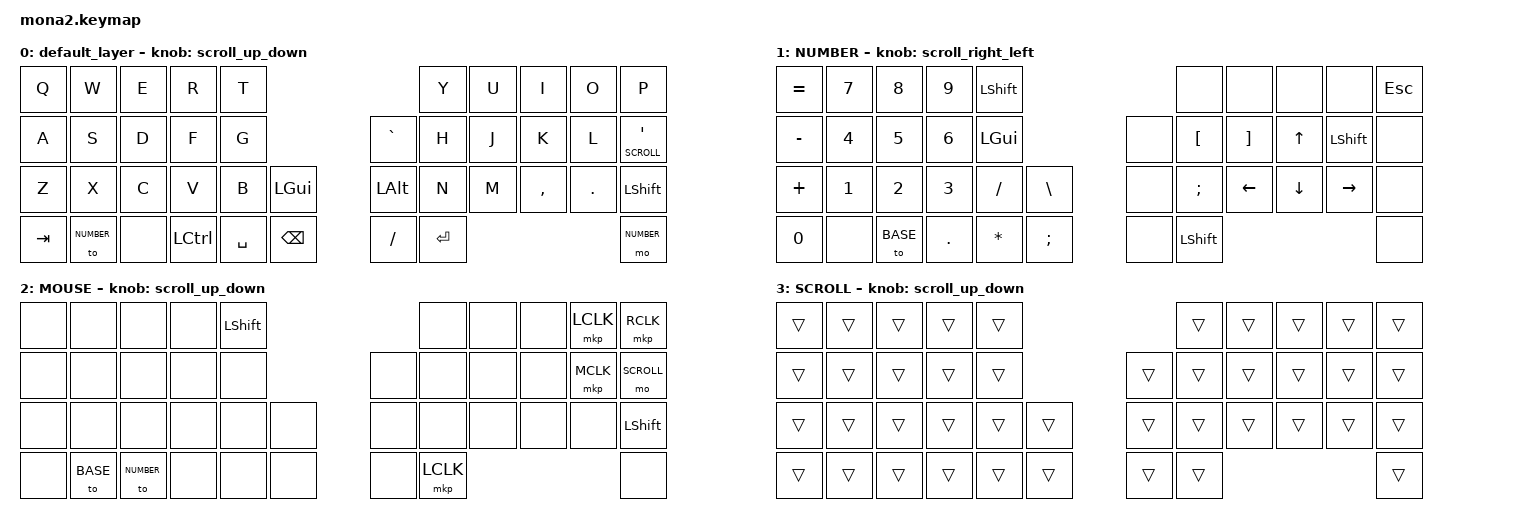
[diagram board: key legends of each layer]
#include <input/processors.dtsi>
#include <dt-bindings/zmk/input_transform.h>
#include <zephyr/dt-bindings/input/input-event-codes.h>
#include <behaviors.dtsi>
#include <dt-bindings/zmk/bt.h>
#include <dt-bindings/zmk/keys.h>
#include <dt-bindings/zmk/pointing.h>

#define ZMK_POINTING_DEFAULT_SCRL_VAL 100
#define BASE   0
#define NUMBER 1
#define MOUSE  2
#define SCROLL 3

&mt {
    flavor = "balanced";
    quick-tap-ms = <0>;
};

&lt {
    quick-tap-ms = <300>;
    flavor = "balanced";
};

/ {
    behaviors {
        scroll_up_down: mouse_wheel_up_down {
            compatible = "zmk,behavior-sensor-rotate";
            #sensor-binding-cells = <0>;
            bindings = <&msc SCRL_DOWN>, <&msc SCRL_UP>;
            tap-ms = <20>;
        };

        scroll_right_left: mouse_wheel_right_left {
            compatible = "zmk,behavior-sensor-rotate";
            #sensor-binding-cells = <0>;
            bindings = <&msc SCRL_LEFT>, <&msc SCRL_RIGHT>;
            tap-ms = <20>;
        };
    };

    keymap {
        compatible = "zmk,keymap";

        default_layer {
            bindings = <
&kp Q    &kp W  &kp E  &kp R      &kp T                                         &kp Y      &kp U  &kp I  &kp O       &kp P
&kp A    &kp S  &kp D  &kp F      &kp G                          &kp GRAVE      &kp H      &kp J  &kp K  &kp L       &lt SCROLL SQT
&kp Z    &kp X  &kp C  &kp V      &kp B       &kp LGUI           &kp LALT       &kp N      &kp M  &kp COMMA &kp DOT  &kp LSHFT
&kp TAB  &to NUMBER  &none  &kp LCTRL  &kp SPACE  &kp BSPC       &kp SLASH      &kp RET                              &mo NUMBER
            >;

            sensor-bindings = <&scroll_up_down>;
        };

            NUMBER {
                bindings = <
&kp EQUAL    &kp N7  &kp N8  &kp N9   &kp LSHFT                                    &none           &none       &none       &none        &kp ESC
&kp MINUS    &kp N4  &kp N5  &kp N6   &kp LGUI                           &none     &kp LBKT        &kp RBKT    &kp UP      &kp LSHFT    &none
&kp PLUS     &kp N1  &kp N2  &kp N3   &kp SLASH  &kp BACKSLASH           &none     &kp SEMICOLON   &kp LEFT    &kp DOWN    &kp RIGHT    &none
&kp N0       &none   &to BASE  &kp DOT  &kp ASTERISK  &kp SEMICOLON      &none     &kp LSHFT                                            &none
                >;

                sensor-bindings = <&scroll_right_left>;
        };

        MOUSE {
            bindings = <
&none  &none     &none       &none  &kp LSHFT                                    &none      &none      &none      &mkp LCLK   &mkp RCLK
&none  &none     &none       &none  &none                              &none     &none      &none      &none      &mkp MCLK   &mo SCROLL
&none  &none     &none       &none  &none  &none                       &none     &none      &none      &none      &none       &kp LSHFT
&none  &to BASE  &to NUMBER  &none  &none  &none                       &none     &mkp LCLK                                    &none
            >;

            sensor-bindings = <&scroll_up_down>;
        };

        SCROLL {
            bindings = <
&trans  &trans  &trans  &trans  &trans                    &trans  &trans  &trans  &trans  &trans
&trans  &trans  &trans  &trans  &trans            &trans  &trans  &trans  &trans  &trans  &trans
&trans  &trans  &trans  &trans  &trans  &trans    &trans  &trans  &trans  &trans  &trans  &trans
&trans  &trans  &trans  &trans  &trans  &trans    &trans  &trans                          &trans
            >;

            sensor-bindings = <&scroll_up_down>;
        };
    };
};
